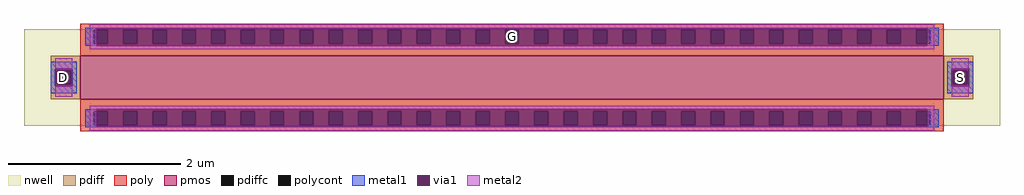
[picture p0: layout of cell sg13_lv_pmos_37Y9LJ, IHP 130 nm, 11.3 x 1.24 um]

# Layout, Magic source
magic
tech ihp-sg13g2
magscale 1 2
<< nwell >>
rect -1130 -112 1130 112
<< pmos >>
rect -1000 -50 1000 50
<< pdiff >>
rect -1068 16 -1000 50
rect -1068 -16 -1054 16
rect -1022 -16 -1000 16
rect -1068 -50 -1000 -16
rect 1000 16 1068 50
rect 1000 -16 1022 16
rect 1054 -16 1068 16
rect 1000 -50 1068 -16
<< pdiffc >>
rect -1054 -16 -1022 16
rect 1022 -16 1054 16
<< poly >>
rect -1000 110 1000 124
rect -1000 78 -968 110
rect -936 78 -900 110
rect -868 78 -832 110
rect -800 78 -764 110
rect -732 78 -696 110
rect -664 78 -628 110
rect -596 78 -560 110
rect -528 78 -492 110
rect -460 78 -424 110
rect -392 78 -356 110
rect -324 78 -288 110
rect -256 78 -220 110
rect -188 78 -152 110
rect -120 78 -84 110
rect -52 78 -16 110
rect 16 78 52 110
rect 84 78 120 110
rect 152 78 188 110
rect 220 78 256 110
rect 288 78 324 110
rect 356 78 392 110
rect 424 78 460 110
rect 492 78 528 110
rect 560 78 596 110
rect 628 78 664 110
rect 696 78 732 110
rect 764 78 800 110
rect 832 78 868 110
rect 900 78 936 110
rect 968 78 1000 110
rect -1000 50 1000 78
rect -1000 -78 1000 -50
rect -1000 -110 -968 -78
rect -936 -110 -900 -78
rect -868 -110 -832 -78
rect -800 -110 -764 -78
rect -732 -110 -696 -78
rect -664 -110 -628 -78
rect -596 -110 -560 -78
rect -528 -110 -492 -78
rect -460 -110 -424 -78
rect -392 -110 -356 -78
rect -324 -110 -288 -78
rect -256 -110 -220 -78
rect -188 -110 -152 -78
rect -120 -110 -84 -78
rect -52 -110 -16 -78
rect 16 -110 52 -78
rect 84 -110 120 -78
rect 152 -110 188 -78
rect 220 -110 256 -78
rect 288 -110 324 -78
rect 356 -110 392 -78
rect 424 -110 460 -78
rect 492 -110 528 -78
rect 560 -110 596 -78
rect 628 -110 664 -78
rect 696 -110 732 -78
rect 764 -110 800 -78
rect 832 -110 868 -78
rect 900 -110 936 -78
rect 968 -110 1000 -78
rect -1000 -124 1000 -110
<< polycont >>
rect -968 78 -936 110
rect -900 78 -868 110
rect -832 78 -800 110
rect -764 78 -732 110
rect -696 78 -664 110
rect -628 78 -596 110
rect -560 78 -528 110
rect -492 78 -460 110
rect -424 78 -392 110
rect -356 78 -324 110
rect -288 78 -256 110
rect -220 78 -188 110
rect -152 78 -120 110
rect -84 78 -52 110
rect -16 78 16 110
rect 52 78 84 110
rect 120 78 152 110
rect 188 78 220 110
rect 256 78 288 110
rect 324 78 356 110
rect 392 78 424 110
rect 460 78 492 110
rect 528 78 560 110
rect 596 78 628 110
rect 664 78 696 110
rect 732 78 764 110
rect 800 78 832 110
rect 868 78 900 110
rect 936 78 968 110
rect -968 -110 -936 -78
rect -900 -110 -868 -78
rect -832 -110 -800 -78
rect -764 -110 -732 -78
rect -696 -110 -664 -78
rect -628 -110 -596 -78
rect -560 -110 -528 -78
rect -492 -110 -460 -78
rect -424 -110 -392 -78
rect -356 -110 -324 -78
rect -288 -110 -256 -78
rect -220 -110 -188 -78
rect -152 -110 -120 -78
rect -84 -110 -52 -78
rect -16 -110 16 -78
rect 52 -110 84 -78
rect 120 -110 152 -78
rect 188 -110 220 -78
rect 256 -110 288 -78
rect 324 -110 356 -78
rect 392 -110 424 -78
rect 460 -110 492 -78
rect 528 -110 560 -78
rect 596 -110 628 -78
rect 664 -110 696 -78
rect 732 -110 764 -78
rect 800 -110 832 -78
rect 868 -110 900 -78
rect 936 -110 968 -78
<< metal1 >>
rect -988 114 988 115
rect -988 110 -963 114
rect 963 110 988 114
rect -988 78 -968 110
rect 968 78 988 110
rect -988 74 -963 78
rect 963 74 988 78
rect -988 73 988 74
rect -1068 20 -1008 36
rect -1068 -20 -1058 20
rect -1018 -20 -1008 20
rect -1068 -36 -1008 -20
rect 1008 20 1068 36
rect 1008 -20 1018 20
rect 1058 -20 1068 20
rect 1008 -36 1068 -20
rect -988 -74 988 -73
rect -988 -78 -963 -74
rect 963 -78 988 -74
rect -988 -110 -968 -78
rect 968 -110 988 -78
rect -988 -114 -963 -110
rect 963 -114 988 -110
rect -988 -115 988 -114
<< via1 >>
rect -963 110 963 114
rect -963 78 -936 110
rect -936 78 -900 110
rect -900 78 -868 110
rect -868 78 -832 110
rect -832 78 -800 110
rect -800 78 -764 110
rect -764 78 -732 110
rect -732 78 -696 110
rect -696 78 -664 110
rect -664 78 -628 110
rect -628 78 -596 110
rect -596 78 -560 110
rect -560 78 -528 110
rect -528 78 -492 110
rect -492 78 -460 110
rect -460 78 -424 110
rect -424 78 -392 110
rect -392 78 -356 110
rect -356 78 -324 110
rect -324 78 -288 110
rect -288 78 -256 110
rect -256 78 -220 110
rect -220 78 -188 110
rect -188 78 -152 110
rect -152 78 -120 110
rect -120 78 -84 110
rect -84 78 -52 110
rect -52 78 -16 110
rect -16 78 16 110
rect 16 78 52 110
rect 52 78 84 110
rect 84 78 120 110
rect 120 78 152 110
rect 152 78 188 110
rect 188 78 220 110
rect 220 78 256 110
rect 256 78 288 110
rect 288 78 324 110
rect 324 78 356 110
rect 356 78 392 110
rect 392 78 424 110
rect 424 78 460 110
rect 460 78 492 110
rect 492 78 528 110
rect 528 78 560 110
rect 560 78 596 110
rect 596 78 628 110
rect 628 78 664 110
rect 664 78 696 110
rect 696 78 732 110
rect 732 78 764 110
rect 764 78 800 110
rect 800 78 832 110
rect 832 78 868 110
rect 868 78 900 110
rect 900 78 936 110
rect 936 78 963 110
rect -963 74 963 78
rect -1058 16 -1018 20
rect -1058 -16 -1054 16
rect -1054 -16 -1022 16
rect -1022 -16 -1018 16
rect -1058 -20 -1018 -16
rect 1018 16 1058 20
rect 1018 -16 1022 16
rect 1022 -16 1054 16
rect 1054 -16 1058 16
rect 1018 -20 1058 -16
rect -963 -78 963 -74
rect -963 -110 -936 -78
rect -936 -110 -900 -78
rect -900 -110 -868 -78
rect -868 -110 -832 -78
rect -832 -110 -800 -78
rect -800 -110 -764 -78
rect -764 -110 -732 -78
rect -732 -110 -696 -78
rect -696 -110 -664 -78
rect -664 -110 -628 -78
rect -628 -110 -596 -78
rect -596 -110 -560 -78
rect -560 -110 -528 -78
rect -528 -110 -492 -78
rect -492 -110 -460 -78
rect -460 -110 -424 -78
rect -424 -110 -392 -78
rect -392 -110 -356 -78
rect -356 -110 -324 -78
rect -324 -110 -288 -78
rect -288 -110 -256 -78
rect -256 -110 -220 -78
rect -220 -110 -188 -78
rect -188 -110 -152 -78
rect -152 -110 -120 -78
rect -120 -110 -84 -78
rect -84 -110 -52 -78
rect -52 -110 -16 -78
rect -16 -110 16 -78
rect 16 -110 52 -78
rect 52 -110 84 -78
rect 84 -110 120 -78
rect 120 -110 152 -78
rect 152 -110 188 -78
rect 188 -110 220 -78
rect 220 -110 256 -78
rect 256 -110 288 -78
rect 288 -110 324 -78
rect 324 -110 356 -78
rect 356 -110 392 -78
rect 392 -110 424 -78
rect 424 -110 460 -78
rect 460 -110 492 -78
rect 492 -110 528 -78
rect 528 -110 560 -78
rect 560 -110 596 -78
rect 596 -110 628 -78
rect 628 -110 664 -78
rect 664 -110 696 -78
rect 696 -110 732 -78
rect 732 -110 764 -78
rect 764 -110 800 -78
rect 800 -110 832 -78
rect 832 -110 868 -78
rect 868 -110 900 -78
rect 900 -110 936 -78
rect 936 -110 963 -78
rect -963 -114 963 -110
<< metal2 >>
rect -978 114 978 123
rect -978 74 -963 114
rect 963 74 978 114
rect -978 65 978 74
rect -1058 20 -1018 44
rect -1058 -44 -1018 -20
rect 1018 20 1058 44
rect 1018 -44 1058 -20
rect -978 -74 978 -65
rect -978 -114 -963 -74
rect 963 -114 978 -74
rect -978 -123 978 -114
<< labels >>
rlabel metal1 s -1038 0 -1038 0 4 D
rlabel metal1 s 1038 0 1038 0 4 S
rlabel metal1 s 0 94 0 94 4 G
<< end >>
